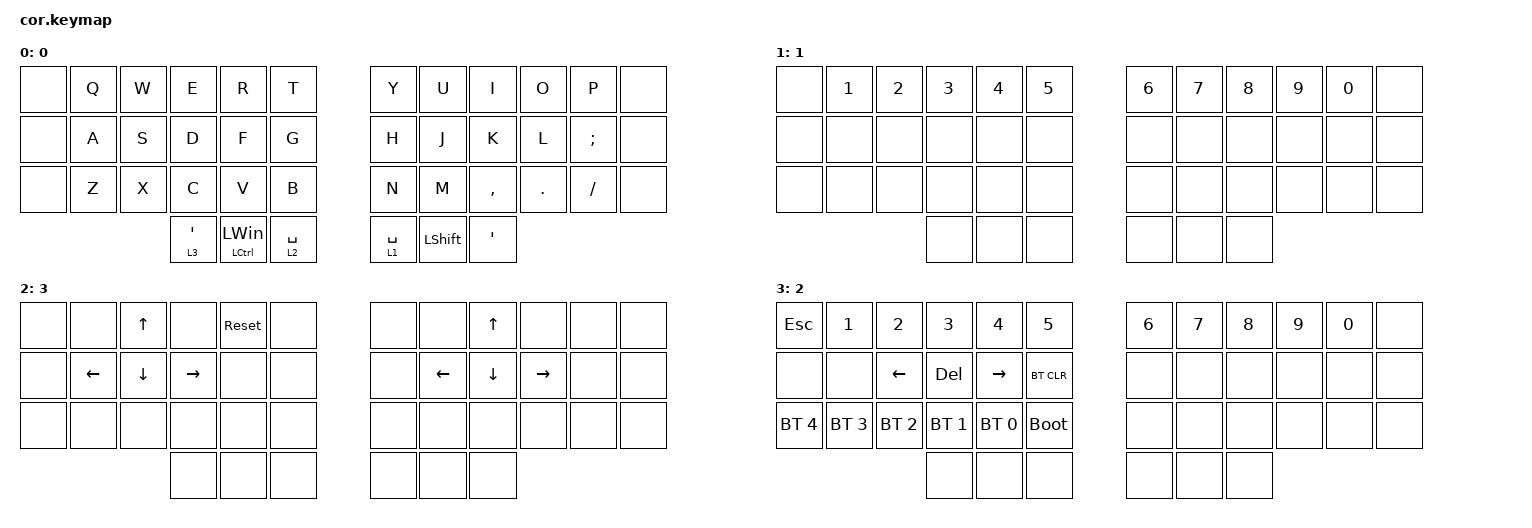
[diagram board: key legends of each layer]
/*
 * Copyright (c) 2020 The ZMK Contributors
 *
 * SPDX-License-Identifier: MIT
 */

#include <behaviors.dtsi>
#include <dt-bindings/zmk/bt.h>
#include <dt-bindings/zmk/keys.h>

#define DEFAULT_L 0
#define SYMBOLS_L 1
#define ARROWS_L  2
#define NUMBERS_L 3

/ {
    behaviors {
        hm: homerow_mods {
            compatible = "zmk,behavior-hold-tap";
            label = "HOMEROW_MODS";
            #binding-cells = <2>;
            tapping-term-ms = <300>;
            quick-tap-ms = <200>;
            flavor = "tap-preferred";
            bindings = <&kp>, <&kp>;
        };
    };

    combos {
        compatible = "zmk,combos";

        a {
            bindings = <&kp ESCAPE>;
            key-positions = <2 1>;
        };

        b {
            bindings = <&kp CLCK>;
            key-positions = <14 13>;
        };

        c {
            bindings = <&kp TAB>;
            key-positions = <26 25>;
        };

        d {
            bindings = <&kp BACKSPACE>;
            key-positions = <10 9>;
        };

        e {
            bindings = <&kp ENTER>;
            key-positions = <22 21>;
        };

        f {
            bindings = <&kp MINUS>;
            key-positions = <19 20>;
        };

        g {
            bindings = <&kp EQUAL>;
            key-positions = <21 20>;
        };

        h {
            bindings = <&sys_reset>;
            key-positions = <1 29>;
        };

        j {
            bindings = <&sys_reset>;
            key-positions = <30 10>;
        };

        command {
            bindings = <&kp LEFT_COMMAND>;
            key-positions = <29 30>;
        };
    };

    keymap {
        compatible = "zmk,keymap";

        default_layer {
            label = "0";
            bindings = <
&none  &kp Q  &kp W  &kp E      &kp R                      &kp T          &kp Y        &kp U           &kp I      &kp O    &kp P     &none
&none  &kp A  &kp S  &kp D      &kp F                      &kp G          &kp H        &kp J           &kp K      &kp L    &kp SEMI  &none
&none  &kp Z  &kp X  &kp C      &kp V                      &kp B          &kp N        &kp M           &kp COMMA  &kp DOT  &kp FSLH  &none
                     &lt 3 SQT  &mt LEFT_CONTROL LEFT_WIN  &lt 2 SPACE    &lt 1 SPACE  &kp LEFT_SHIFT  &kp SQT
            >;
        };

        number_layer {
            label = "1";
            bindings = <
&none  &kp N1  &kp N2  &kp N3  &kp N4  &kp N5    &kp N6  &kp N7  &kp N8  &kp N9  &kp N0  &none
&none  &none   &none   &none   &none   &none     &none   &none   &none   &none   &none   &none
&none  &none   &none   &none   &none   &none     &none   &none   &none   &none   &none   &none
                       &none   &none   &none     &none   &none   &none
            >;
        };

        arrow_layer {
            label = "3";
            bindings = <
&none  &none           &kp UP_ARROW    &none      &sys_reset  &none    &none  &none           &kp UP_ARROW    &none            &none  &none
&none  &kp LEFT_ARROW  &kp DOWN_ARROW  &kp RIGHT  &none       &none    &none  &kp LEFT_ARROW  &kp DOWN_ARROW  &kp RIGHT_ARROW  &none  &none
&none  &none           &none           &none      &none       &none    &none  &none           &none           &none            &none  &none
                                       &none      &none       &none    &none  &none           &none
            >;
        };

        bt_layer {
            label = "2";
            bindings = <
&kp ESC       &kp N1        &kp N2          &kp N3        &kp N4        &kp N5         &kp N6  &kp N7  &kp N8  &kp N9  &kp N0  &none
&none         &none         &kp LEFT_ARROW  &kp DEL       &kp RIGHT     &bt BT_CLR     &none   &none   &none   &none   &none   &none
&bt BT_SEL 4  &bt BT_SEL 3  &bt BT_SEL 2    &bt BT_SEL 1  &bt BT_SEL 0  &bootloader    &none   &none   &none   &none   &none   &none
                                            &none         &none         &none          &none   &none   &none
            >;
        };
    };
};
